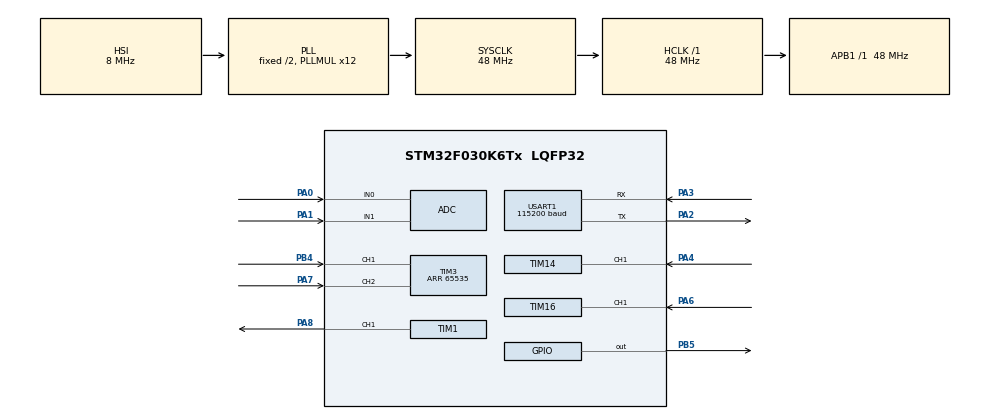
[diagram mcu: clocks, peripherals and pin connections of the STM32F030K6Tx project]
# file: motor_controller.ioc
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Dma.Request0=USART1_RX
Dma.Request1=USART1_TX
Dma.USART1_RX.0.Direction=DMA_PERIPH_TO_MEMORY
Dma.USART1_RX.0.Instance=DMA1_Channel3
Dma.USART1_RX.0.MemDataAlignment=DMA_MDATAALIGN_BYTE
Dma.USART1_RX.0.MemInc=DMA_MINC_ENABLE
Dma.USART1_RX.0.Mode=DMA_CIRCULAR
Dma.USART1_RX.0.PeriphDataAlignment=DMA_PDATAALIGN_BYTE
Dma.USART1_RX.0.PeriphInc=DMA_PINC_DISABLE
Dma.USART1_RX.0.Priority=DMA_PRIORITY_LOW
Dma.USART1_TX.1.Direction=DMA_MEMORY_TO_PERIPH
Dma.USART1_TX.1.Instance=DMA1_Channel2
Dma.USART1_TX.1.MemDataAlignment=DMA_MDATAALIGN_BYTE
Dma.USART1_TX.1.MemInc=DMA_MINC_ENABLE
Dma.USART1_TX.1.Mode=DMA_NORMAL
Dma.USART1_TX.1.PeriphDataAlignment=DMA_PDATAALIGN_BYTE
Dma.USART1_TX.1.PeriphInc=DMA_PINC_DISABLE
Dma.USART1_TX.1.Priority=DMA_PRIORITY_LOW
Mcu.Family=STM32F0
Mcu.Name=STM32F030K6Tx
Mcu.Package=LQFP32
NVIC.DMA1_Channel2_3_IRQn=true\:0\:0\:false\:false\:true\:false\:true
NVIC.TIM14_IRQn=true\:0\:0\:false\:false\:true\:true\:true
NVIC.TIM16_IRQn=true\:0\:0\:false\:false\:true\:true\:true
NVIC.TIM17_IRQn=true\:0\:0\:false\:false\:true\:true\:true
NVIC.USART1_IRQn=true\:0\:0\:false\:false\:true\:true\:true
PA0.Mode=IN0
PA0.Signal=ADC_IN0
PA1.Mode=IN1
PA1.Signal=ADC_IN1
PA2.Mode=Asynchronous
PA2.Signal=USART1_TX
PA3.Mode=Asynchronous
PA3.Signal=USART1_RX
PA4.Signal=S_TIM14_CH1
PA6.Signal=S_TIM16_CH1
PA7.Signal=S_TIM3_CH2
PA8.Signal=S_TIM1_CH1
PB4.Signal=S_TIM3_CH1
PB5.Signal=GPIO_Output
PF0-OSC_IN.Mode=HSE-External-Oscillator
PF0-OSC_IN.Signal=RCC_OSC_IN
PF1-OSC_OUT.Mode=HSE-External-Oscillator
PF1-OSC_OUT.Signal=RCC_OSC_OUT
ProjectManager.HeapSize=0x200
ProjectManager.StackSize=0x400
ProjectManager.TargetToolchain=SW4STM32
RCC.AHBFreq_Value=48000000
RCC.APB1Freq_Value=48000000
RCC.APB1TimFreq_Value=48000000
RCC.HCLKFreq_Value=48000000
RCC.PLLMUL=RCC_PLL_MUL12
RCC.SYSCLKFreq_VALUE=48000000
RCC.SYSCLKSource=RCC_SYSCLKSOURCE_PLLCLK
SH.S_TIM14_CH1.0=TIM14_CH1,Input_Capture1_from_TI1
SH.S_TIM16_CH1.0=TIM16_CH1,Input_Capture1_from_TI1
SH.S_TIM1_CH1.0=TIM1_CH1,PWM Generation1 CH1
SH.S_TIM3_CH1.0=TIM3_CH1,Encoder_Interface
SH.S_TIM3_CH2.0=TIM3_CH2,Encoder_Interface
TIM1.Channel-PWM\ Generation1\ CH1=TIM_CHANNEL_1
TIM1.CounterMode=TIM_COUNTERMODE_UP
TIM1.OCIdleState_1=TIM_OCIDLESTATE_SET
TIM1.OCPolarity_1=TIM_OCPOLARITY_LOW
TIM1.Period=20000 - 1
TIM1.Prescaler=48 - 1
TIM14.Channel=TIM_CHANNEL_1
TIM14.ICFilter_CH1=15
TIM14.ICPolarity_CH1=TIM_INPUTCHANNELPOLARITY_BOTHEDGE
TIM14.Period=40000 - 1
TIM14.Prescaler=48 - 1
TIM16.Channel=TIM_CHANNEL_1
TIM16.ICFilter_CH1=15
TIM16.ICPolarity_CH1=TIM_INPUTCHANNELPOLARITY_BOTHEDGE
TIM16.Period=40000 - 1
TIM16.Prescaler=48 - 1
TIM17.Channel=TIM_CHANNEL_1
TIM17.Period=500
TIM17.Prescaler=48
TIM3.EncoderMode=TIM_ENCODERMODE_TI12
TIM3.IC1Filter=5
TIM3.IC2Filter=5
TIM3.Period=65535
USART1.BaudRate=115200
USART1.VirtualMode-Asynchronous=VM_ASYNC
VP_TIM14_VS_ClockSourceINT.Mode=Enable_Timer
VP_TIM16_VS_ClockSourceINT.Mode=Enable_Timer
VP_TIM17_VS_ClockSourceINT.Mode=Enable_Timer
VP_TIM17_VS_no_output1.Mode=Output Compare1 No Output
board=custom

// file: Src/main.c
/* USER CODE BEGIN Header */
/**
  ******************************************************************************
  * @file           : main.c
  * @brief          : Main program body
  ******************************************************************************
  * @attention
  *
  * <h2><center>&copy; Copyright (c) 2019 STMicroelectronics.
  * All rights reserved.</center></h2>
  *
  * This software component is licensed by ST under BSD 3-Clause license,
  * the "License"; You may not use this file except in compliance with the
  * License. You may obtain a copy of the License at:
  *                        opensource.org/licenses/BSD-3-Clause
  *
  ******************************************************************************
  */
/* USER CODE END Header */

#include "main.h"
#include "adc.h"
#include "dma.h"
#include "tim.h"
#include "usart.h"
#include "gpio.h"

/* USER CODE BEGIN Includes */
#include "config.h"
#include "common.h"
#include "pi_controller.h"
#include "encoder.h"
#include "dc_motor.h"

#include <micro/utils/types.h>

#include <micro/panel/MotorPanelData.h>
/* USER CODE END Includes */

/* USER CODE BEGIN PV */
/* Private variables ---------------------------------------------------------*/

static volatile bool isMotorEnabled = false;
static volatile bool useSafetyEnableSignal = true;
static volatile encoder_t encoder;
static volatile uint32_t rc_recv_in_speed = 1500;
static volatile bool newCmd = false;
static volatile pi_controller_t speedCtrl;
static volatile float speed_measured_mps = 0.0f;

motorPanelDataIn_t inData;
motorPanelDataOut_t outData;

/* USER CODE END PV */

void SystemClock_Config(void);
/* USER CODE BEGIN PFP */
/* Private function prototypes -----------------------------------------------*/

void update_motor_enabled(void) {

    static const uint8_t BOUNCE_LIMIT = 3;
    static uint8_t bounce_cntr = 0;

    bool enabled = true;

    if (useSafetyEnableSignal) {
        uint32_t recvPwm = rc_recv_in_speed;
        const bool en = (recvPwm > 1700 && recvPwm < 2100);

        if (en != isMotorEnabled && ++bounce_cntr > BOUNCE_LIMIT) {
            enabled = en;
        } else {
            bounce_cntr = 0;
        }
    }

    isMotorEnabled = enabled;
}

void send_speed(void) {
    outData.actualSpeed_mmps = (int16_t)(speed_measured_mps * 1000);

    // transmits actual (measured) speed back to main panel
    HAL_UART_Transmit_DMA(uart_cmd, (uint8_t*)&outData, sizeof(motorPanelDataOut_t));
}

void handle_cmd(void) {

    speedCtrl.desired = inData.targetSpeed_mmps / 1000.0f;
    __disable_irq();
    pi_controller_set_Ti((pi_controller_t*)&speedCtrl, inData.controller_Ti_us);
    pi_controller_set_Kc((pi_controller_t*)&speedCtrl, inData.controller_Kc);
    __enable_irq();
    useSafetyEnableSignal = !!(inData.flags & MOTOR_PANEL_FLAG_USE_SAFETY_SIGNAL);
}

/* USER CODE END PFP */

int main(void)
{

  /* MCU Configuration--------------------------------------------------------*/

  /* Reset of all peripherals, Initializes the Flash interface and the Systick. */
  HAL_Init();

  /* Configure the system clock */
  SystemClock_Config();

  /* Initialize all configured peripherals */
  MX_GPIO_Init();
  MX_DMA_Init();
  MX_TIM3_Init();
  MX_TIM1_Init();
  MX_TIM14_Init();
  MX_TIM16_Init();
  MX_TIM17_Init();
  MX_ADC_Init();
  MX_USART1_UART_Init();
  /* USER CODE BEGIN 2 */

  bool initialized = false;

  HAL_UART_Receive_DMA(uart_cmd, (uint8_t*)&inData, sizeof(motorPanelDataIn_t));

  dc_motor_initialize();
  encoder_initialize((encoder_t*)&encoder, ENCODER_MAX_VALUE);
  pi_controller_initialize((pi_controller_t*)&speedCtrl, SPEED_CTRL_PERIOD_US, SPEED_CTRL_Ti_US, SPEED_CTRL_Kc, SPEED_CTRL_DEADBAND_MPS, -1.0f, 1.0f, SPEED_CTRL_MAX_DELTA);

  uint32_t lastCmdTime               = 0;
  uint32_t lastSafetySignalCheckTime = HAL_GetTick();
  uint32_t lastSpeedSendTime         = HAL_GetTick();
  uint32_t lastLedToggleTime         = HAL_GetTick();
  /* USER CODE END 2 */

  /* Infinite loop */
  /* USER CODE BEGIN WHILE */

  speedCtrl.desired = 0.0f;

  while (1)
  {
      // TODO
      {
          volatile int32_t recvPwm = (int32_t)rc_recv_in_speed;

          // after a given number of errors, stops motor
          if (recvPwm > 900 && recvPwm < 2100) {
              speedCtrl.desired = map(recvPwm, 1000, 2000, -1.0f, 1.0f);
          }
      }

      const uint32_t currentTime = HAL_GetTick();
      if (newCmd) {
          newCmd = false;
          initialized = true;
          lastCmdTime = currentTime;
          handle_cmd();
      }

      if (initialized) {
          if (currentTime - lastCmdTime > MAX_CMD_DELAY_MS) {
              //__disable_irq();
              //speedCtrl.desired = 0.0f;
              //__enable_irq();
          }

          if (currentTime >= lastSpeedSendTime + SPEED_SEND_PERIOD_MS) {
              lastSpeedSendTime = currentTime;
              send_speed();
          }

          if (currentTime >= lastSafetySignalCheckTime + SAFETY_SIGNAL_CHECK_PERIOD_MS) {
              lastSafetySignalCheckTime = currentTime;
              update_motor_enabled();
          }
      }

      if (currentTime >= lastLedToggleTime + 500) {
          lastLedToggleTime = currentTime;
          HAL_GPIO_TogglePin(gpio_user_led, gpio_pin_user_led);
      }

    /* USER CODE END WHILE */

  }
}

void SystemClock_Config(void)
{
  RCC_OscInitTypeDef RCC_OscInitStruct = {0};
  RCC_ClkInitTypeDef RCC_ClkInitStruct = {0};
  RCC_PeriphCLKInitTypeDef PeriphClkInit = {0};

  /** Initializes the CPU, AHB and APB busses clocks
  */
  RCC_OscInitStruct.OscillatorType = RCC_OSCILLATORTYPE_HSI|RCC_OSCILLATORTYPE_HSI14;
  RCC_OscInitStruct.HSIState = RCC_HSI_ON;
  RCC_OscInitStruct.HSI14State = RCC_HSI14_ON;
  RCC_OscInitStruct.HSICalibrationValue = RCC_HSICALIBRATION_DEFAULT;
  RCC_OscInitStruct.HSI14CalibrationValue = 16;
  RCC_OscInitStruct.PLL.PLLState = RCC_PLL_ON;
  RCC_OscInitStruct.PLL.PLLSource = RCC_PLLSOURCE_HSI;
  RCC_OscInitStruct.PLL.PLLMUL = RCC_PLL_MUL12;
  RCC_OscInitStruct.PLL.PREDIV = RCC_PREDIV_DIV1;
  if (HAL_RCC_OscConfig(&RCC_OscInitStruct) != HAL_OK)
  {
    Error_Handler();
  }
  /** Initializes the CPU, AHB and APB busses clocks
  */
  RCC_ClkInitStruct.ClockType = RCC_CLOCKTYPE_HCLK|RCC_CLOCKTYPE_SYSCLK
                              |RCC_CLOCKTYPE_PCLK1;
  RCC_ClkInitStruct.SYSCLKSource = RCC_SYSCLKSOURCE_PLLCLK;
  RCC_ClkInitStruct.AHBCLKDivider = RCC_SYSCLK_DIV1;
  RCC_ClkInitStruct.APB1CLKDivider = RCC_HCLK_DIV1;

  if (HAL_RCC_ClockConfig(&RCC_ClkInitStruct, FLASH_LATENCY_1) != HAL_OK)
  {
    Error_Handler();
  }
  PeriphClkInit.PeriphClockSelection = RCC_PERIPHCLK_USART1;
  PeriphClkInit.Usart1ClockSelection = RCC_USART1CLKSOURCE_PCLK1;
  if (HAL_RCCEx_PeriphCLKConfig(&PeriphClkInit) != HAL_OK)
  {
    Error_Handler();
  }
  HAL_RCC_MCOConfig(RCC_MCO, RCC_MCO1SOURCE_SYSCLK, RCC_MCODIV_1);
}

/* USER CODE BEGIN 4 */

void HAL_TIM_IC_CaptureCallback(TIM_HandleTypeDef *htim) {
	if (htim == tim_rc_recv) {
		rc_recv_in_speed = __HAL_TIM_GET_COMPARE(tim_rc_recv, chnl_rc_recv);
		__HAL_TIM_SET_COUNTER(tim_rc_recv, 0); 	//resets counter after input capture interrupt occurs
	}
}

void HAL_UART_RxCpltCallback(UART_HandleTypeDef *huart) {
    if (huart == uart_cmd) {
        newCmd = true;
    }
}

void HAL_TIM_PeriodElapsedCallback(TIM_HandleTypeDef *htim) {
	if (htim == tim_speedControllerPeriod) {

		const int32_t diff = encoder_get_diff((encoder_t*)&encoder);
		speed_measured_mps = diff * ENCODER_TO_MPS_RATIO;

		if (isMotorEnabled || 1)
		{
	        pi_controller_update((pi_controller_t*)&speedCtrl, speed_measured_mps);
	        //dc_motor_write(speedCtrl.output);
	        dc_motor_write(speedCtrl.desired);
		} else {
		    dc_motor_write(0.0f);
		}
	}
}

/* USER CODE END 4 */

void Error_Handler(void)
{
  while(1)
  {
  }
}

/************************ (C) COPYRIGHT STMicroelectronics *****END OF FILE****/
